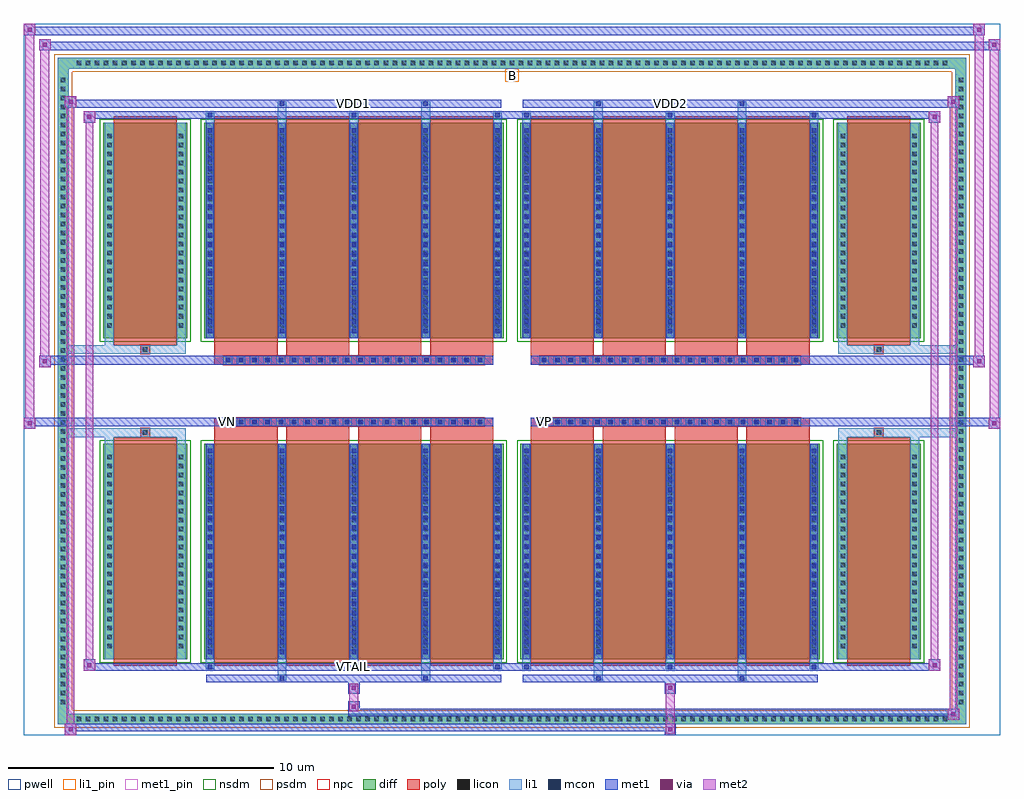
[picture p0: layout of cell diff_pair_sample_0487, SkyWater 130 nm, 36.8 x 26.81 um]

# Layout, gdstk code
import gdstk
lib = gdstk.Library(unit=1e-6, precision=5e-09)
def R(c, l, rs):  # rectangles x0, y0, x1, y1
    for r in rs: c.add(gdstk.rectangle(r[:2], r[2:], *l))
def A(c, l, x, y, w, h, nx, ny, dx, dy):  # array of equal rectangles
    R(c, l, [(x+i*dx, y+j*dy, x+i*dx+w, y+j*dy+h) for i in range(nx) for j in range(ny)])
def P(c, l, *ps):  # polygons
    for p in ps: c.add(gdstk.Polygon(p, *l))
pwell = (64, 44)
diff = (65, 20)
poly = (66, 20)
licon = (66, 44)
li1_pin = (67, 16)
li1 = (67, 20)
mcon = (67, 44)
met1_pin = (68, 16)
met1 = (68, 20)
via = (68, 44)
met2 = (69, 20)
nsdm = (93, 44)
psdm = (94, 20)
npc = (95, 20)

diff_pair_sample_0487 = lib.new_cell('diff_pair_sample_0487')
R(diff_pair_sample_0487, pwell, [(-18.4,-12.97,18.4,13.84), (-15.72,-11.16,-0.01,-0.8), (0.01,-11.16,15.72,-0.8), (-15.72,0.8,-0.01,11.16), (0.01,0.8,15.72,11.16)])
A(diff_pair_sample_0487, diff, -16.525, -12.57, 0.41, 0.41, 97, 2, 0.34, 24.73)
A(diff_pair_sample_0487, diff, -17.13, -11.935, 0.41, 0.41, 1, 70, 0, 0.34)
A(diff_pair_sample_0487, diff, 16.72, -11.935, 0.41, 0.41, 1, 70, 0, 0.34)
R(diff_pair_sample_0487, diff, [(-16.525,-12.57,16.525,-12.16), (-17.13,-11.935,-16.72,11.935), (16.72,-11.935,17.13,11.935), (-15.41,-10.115,-12.25,-1.985), (-11.61,-10.115,-0.32,-1.985), (0.32,-10.115,11.61,-1.985), (12.25,-10.115,15.41,-1.985), (-15.41,1.985,-12.25,10.115), (-11.61,1.985,-0.32,10.115), (0.32,1.985,11.61,10.115), (12.25,1.985,15.41,10.115), (-16.525,12.16,16.525,12.57)])
P(diff_pair_sample_0487, diff, [(17.13,12.57),(-17.13,12.57),(-17.13,-12.16),(-16.72,-12.16),(-16.72,12.16),(16.72,12.16),(16.72,-12.16),(-16.72,-12.16),(-17.13,-12.16),(-17.13,-12.57),(17.13,-12.57)])
A(diff_pair_sample_0487, poly, -11.22, -10.365, 2.38, 8.63, 4, 2, 2.71, 12.1)
A(diff_pair_sample_0487, poly, 0.71, -10.365, 2.38, 8.63, 4, 2, 2.71, 12.1)
A(diff_pair_sample_0487, poly, -11.22, -1.735, 2.38, 0.405, 4, 2, 2.71, 3.065)
A(diff_pair_sample_0487, poly, 0.71, -1.735, 2.38, 0.405, 4, 2, 2.71, 3.065)
A(diff_pair_sample_0487, poly, -10.88, -1.33, 0.33, 0.33, 20, 2, 0.5, 2.33)
A(diff_pair_sample_0487, poly, 1.05, -1.33, 0.33, 0.33, 20, 2, 0.5, 2.33)
R(diff_pair_sample_0487, poly, [(-15.02,-10.365,-12.64,-1.735), (12.64,-10.365,15.02,-1.735), (-13.995,-1.735,-13.665,-1.405), (-13.995,-1.735,-13.665,-1.405), (13.665,-1.735,13.995,-1.405), (13.665,-1.735,13.995,-1.405), (-11.22,-1.33,-0.71,-1), (0.71,-1.33,11.22,-1), (-11.22,1,-0.71,1.33), (0.71,1,11.22,1.33), (-13.995,1.405,-13.665,1.735), (-13.995,1.405,-13.665,1.735), (13.665,1.405,13.995,1.735), (13.665,1.405,13.995,1.735), (-15.02,1.735,-12.64,10.365), (12.64,1.735,15.02,10.365)])
A(diff_pair_sample_0487, licon, -16.405, -12.45, 0.17, 0.17, 97, 2, 0.34, 24.73)
A(diff_pair_sample_0487, licon, -17.01, -11.815, 0.17, 0.17, 1, 70, 0, 0.34)
A(diff_pair_sample_0487, licon, 16.84, -11.815, 0.17, 0.17, 1, 70, 0, 0.34)
A(diff_pair_sample_0487, licon, -15.27, -9.705, 0.17, 0.17, 1, 22, 0, 0.34)
A(diff_pair_sample_0487, licon, -12.56, -9.705, 0.17, 0.17, 1, 22, 0, 0.34)
A(diff_pair_sample_0487, licon, -11.47, -9.705, 0.17, 0.17, 5, 22, 2.71, 0.34)
A(diff_pair_sample_0487, licon, 0.46, -9.705, 0.17, 0.17, 5, 22, 2.71, 0.34)
A(diff_pair_sample_0487, licon, 12.39, -9.705, 0.17, 0.17, 1, 22, 0, 0.34)
A(diff_pair_sample_0487, licon, 15.1, -9.705, 0.17, 0.17, 1, 22, 0, 0.34)
A(diff_pair_sample_0487, licon, -10.8, -1.25, 0.17, 0.17, 20, 2, 0.5, 2.33)
A(diff_pair_sample_0487, licon, 1.13, -1.25, 0.17, 0.17, 20, 2, 0.5, 2.33)
A(diff_pair_sample_0487, licon, -15.27, 2.395, 0.17, 0.17, 1, 22, 0, 0.34)
A(diff_pair_sample_0487, licon, -12.56, 2.395, 0.17, 0.17, 1, 22, 0, 0.34)
A(diff_pair_sample_0487, licon, -11.47, 2.395, 0.17, 0.17, 5, 22, 2.71, 0.34)
A(diff_pair_sample_0487, licon, 0.46, 2.395, 0.17, 0.17, 5, 22, 2.71, 0.34)
A(diff_pair_sample_0487, licon, 12.39, 2.395, 0.17, 0.17, 1, 22, 0, 0.34)
A(diff_pair_sample_0487, licon, 15.1, 2.395, 0.17, 0.17, 1, 22, 0, 0.34)
R(diff_pair_sample_0487, licon, [(-13.915,-1.655,-13.745,-1.485), (13.745,-1.655,13.915,-1.485), (-13.915,1.485,-13.745,1.655), (13.745,1.485,13.915,1.655)])
R(diff_pair_sample_0487, li1_pin, [(-0.25,11.66,0.25,12.16)])
A(diff_pair_sample_0487, li1, -16.485, -12.53, 0.33, 0.33, 97, 2, 0.34, 24.73)
A(diff_pair_sample_0487, li1, -17.09, -11.895, 0.33, 0.33, 1, 70, 0, 0.34)
A(diff_pair_sample_0487, li1, 16.76, -11.895, 0.33, 0.33, 1, 70, 0, 0.34)
A(diff_pair_sample_0487, li1, -11.55, -10.49, 0.33, 0.375, 3, 2, 5.42, 20.605)
A(diff_pair_sample_0487, li1, -11.47, -10.49, 0.17, 0.17, 3, 2, 5.42, 20.81)
A(diff_pair_sample_0487, li1, 0.38, -10.49, 0.33, 0.375, 3, 2, 5.42, 20.605)
A(diff_pair_sample_0487, li1, 0.46, -10.49, 0.17, 0.17, 3, 2, 5.42, 20.81)
A(diff_pair_sample_0487, li1, -11.55, -10.115, 0.33, 8.13, 5, 2, 2.71, 12.1)
A(diff_pair_sample_0487, li1, 0.38, -10.115, 0.33, 8.13, 5, 2, 2.71, 12.1)
A(diff_pair_sample_0487, li1, -11.47, -9.915, 0.17, 0.17, 5, 22, 2.71, 0.36)
A(diff_pair_sample_0487, li1, -11.47, -9.915, 0.17, 7.73, 5, 2, 2.71, 12.1)
A(diff_pair_sample_0487, li1, 0.46, -9.915, 0.17, 0.17, 5, 22, 2.71, 0.36)
A(diff_pair_sample_0487, li1, 0.46, -9.915, 0.17, 7.73, 5, 2, 2.71, 12.1)
A(diff_pair_sample_0487, li1, -15.35, -9.785, 0.33, 0.33, 1, 22, 0, 0.34)
A(diff_pair_sample_0487, li1, -12.64, -9.785, 0.33, 0.33, 1, 22, 0, 0.34)
A(diff_pair_sample_0487, li1, -11.55, -9.785, 0.33, 0.33, 5, 22, 2.71, 0.34)
A(diff_pair_sample_0487, li1, 0.38, -9.785, 0.33, 0.33, 5, 22, 2.71, 0.34)
A(diff_pair_sample_0487, li1, 12.31, -9.785, 0.33, 0.33, 1, 22, 0, 0.34)
A(diff_pair_sample_0487, li1, 15.02, -9.785, 0.33, 0.33, 1, 22, 0, 0.34)
A(diff_pair_sample_0487, li1, -10.88, -1.33, 0.33, 0.33, 20, 2, 0.5, 2.33)
A(diff_pair_sample_0487, li1, 1.05, -1.33, 0.33, 0.33, 20, 2, 0.5, 2.33)
A(diff_pair_sample_0487, li1, -11.47, 2.185, 0.17, 0.17, 5, 22, 2.71, 0.36)
A(diff_pair_sample_0487, li1, 0.46, 2.185, 0.17, 0.17, 5, 22, 2.71, 0.36)
A(diff_pair_sample_0487, li1, -15.35, 2.315, 0.33, 0.33, 1, 22, 0, 0.34)
A(diff_pair_sample_0487, li1, -12.64, 2.315, 0.33, 0.33, 1, 22, 0, 0.34)
A(diff_pair_sample_0487, li1, -11.55, 2.315, 0.33, 0.33, 5, 22, 2.71, 0.34)
A(diff_pair_sample_0487, li1, 0.38, 2.315, 0.33, 0.33, 5, 22, 2.71, 0.34)
A(diff_pair_sample_0487, li1, 12.31, 2.315, 0.33, 0.33, 1, 22, 0, 0.34)
A(diff_pair_sample_0487, li1, 15.02, 2.315, 0.33, 0.33, 1, 22, 0, 0.34)
R(diff_pair_sample_0487, li1, [(-17.13,-12.57,-16.72,-12.16), (-17.13,-12.57,-16.72,-12.16), (-16.72,-12.57,16.72,-12.16), (16.72,-12.57,17.13,-12.16), (16.72,-12.57,17.13,-12.16), (-17.13,-12.16,-16.72,12.16), (16.72,-12.16,17.13,12.16), (-8.84,-10.92,-8.51,-10.115), (-8.76,-10.92,-8.59,-10.75), (-3.42,-10.92,-3.09,-10.115), (-3.34,-10.92,-3.17,-10.75), (3.09,-10.92,3.42,-10.115), (3.17,-10.92,3.34,-10.75), (8.51,-10.92,8.84,-10.115), (8.59,-10.92,8.76,-10.75), (-15.35,-10.115,-15.02,-1.985), (-12.64,-10.115,-12.31,-1.985), (12.31,-10.115,12.64,-1.985), (15.02,-10.115,15.35,-1.985), (-15.35,-1.985,-15.02,-1.405), (-12.64,-1.985,-12.31,-1.405), (12.31,-1.985,12.64,-1.405), (15.02,-1.985,15.35,-1.405), (-17.13,-1.735,-13.995,-1.405), (-15.35,-1.735,-13.995,-1.405), (-13.995,-1.735,-13.665,-1.405), (-13.665,-1.735,-12.31,-1.405), (12.31,-1.735,13.665,-1.405), (13.665,-1.735,13.995,-1.405), (13.665,-1.735,17.13,-1.405), (13.995,-1.735,15.35,-1.405), (-17.13,1.405,-13.995,1.735), (-15.35,1.405,-13.995,1.735), (-15.35,1.405,-15.02,1.985), (-13.995,1.405,-13.665,1.735), (-13.665,1.405,-12.31,1.735), (-12.64,1.405,-12.31,1.985), (12.31,1.405,13.665,1.735), (12.31,1.405,12.64,1.985), (13.665,1.405,13.995,1.735), (13.665,1.405,17.13,1.735), (13.995,1.405,15.35,1.735), (15.02,1.405,15.35,1.985), (-15.35,1.985,-15.02,10.115), (-12.64,1.985,-12.31,10.115), (12.31,1.985,12.64,10.115), (15.02,1.985,15.35,10.115), (-8.84,10.115,-8.51,10.92), (-3.42,10.115,-3.09,10.92), (3.09,10.115,3.42,10.92), (8.51,10.115,8.84,10.92), (-8.76,10.75,-8.59,10.92), (-3.34,10.75,-3.17,10.92), (3.17,10.75,3.34,10.92), (8.59,10.75,8.76,10.92), (-17.13,12.16,-16.72,12.57), (-17.13,12.16,-16.72,12.57), (-16.72,12.16,16.72,12.57), (16.72,12.16,17.13,12.57), (16.72,12.16,17.13,12.57)])
A(diff_pair_sample_0487, mcon, -11.47, -10.49, 0.17, 0.17, 3, 2, 5.42, 20.81)
A(diff_pair_sample_0487, mcon, 0.46, -10.49, 0.17, 0.17, 3, 2, 5.42, 20.81)
A(diff_pair_sample_0487, mcon, -11.47, -9.915, 0.17, 0.17, 5, 22, 2.71, 0.36)
A(diff_pair_sample_0487, mcon, 0.46, -9.915, 0.17, 0.17, 5, 22, 2.71, 0.36)
A(diff_pair_sample_0487, mcon, -10.8, -1.25, 0.17, 0.17, 20, 2, 0.5, 2.33)
A(diff_pair_sample_0487, mcon, 1.13, -1.25, 0.17, 0.17, 20, 2, 0.5, 2.33)
A(diff_pair_sample_0487, mcon, -11.47, 2.185, 0.17, 0.17, 5, 22, 2.71, 0.36)
A(diff_pair_sample_0487, mcon, 0.46, 2.185, 0.17, 0.17, 5, 22, 2.71, 0.36)
R(diff_pair_sample_0487, mcon, [(-8.76,-10.92,-8.59,-10.75), (-3.34,-10.92,-3.17,-10.75), (3.17,-10.92,3.34,-10.75), (8.59,-10.92,8.76,-10.75), (-8.76,10.75,-8.59,10.92), (-3.34,10.75,-3.17,10.92), (3.17,10.75,3.34,10.92), (8.59,10.75,8.76,10.92)])
R(diff_pair_sample_0487, met1_pin, [(-6.1,-10.53,-5.83,-10.26), (-10.85,-1.29,-10.58,-1.02), (1.08,-1.29,1.35,-1.02), (-6.1,10.71,-5.83,10.98), (5.83,10.71,6.1,10.98)])
A(diff_pair_sample_0487, met1, -11.53, -10.55, 0.29, 0.29, 3, 2, 5.42, 20.81)
A(diff_pair_sample_0487, met1, 0.4, -10.55, 0.29, 0.29, 3, 2, 5.42, 20.81)
A(diff_pair_sample_0487, met1, -11.53, -10.115, 0.29, 8.13, 5, 2, 2.71, 12.1)
A(diff_pair_sample_0487, met1, 0.4, -10.115, 0.29, 8.13, 5, 2, 2.71, 12.1)
A(diff_pair_sample_0487, met1, -11.53, -9.975, 0.29, 0.29, 5, 22, 2.71, 0.36)
A(diff_pair_sample_0487, met1, 0.4, -9.975, 0.29, 0.29, 5, 22, 2.71, 0.36)
A(diff_pair_sample_0487, met1, -10.86, -1.31, 0.29, 0.29, 20, 2, 0.5, 2.33)
A(diff_pair_sample_0487, met1, 1.07, -1.31, 0.29, 0.29, 20, 2, 0.5, 2.33)
A(diff_pair_sample_0487, met1, -11.53, 2.125, 0.29, 0.29, 5, 22, 2.71, 0.36)
A(diff_pair_sample_0487, met1, 0.4, 2.125, 0.29, 0.29, 5, 22, 2.71, 0.36)
R(diff_pair_sample_0487, met1, [(-16.86,-12.97,-16.43,-12.54), (5.75,-12.97,6.18,-12.54), (-16.86,-12.83,6.18,-12.54), (16.43,-12.4,16.86,-11.97), (-6.18,-12.26,16.86,-11.97), (-6.18,-12.12,-5.75,-11.69), (-6.18,-11.41,-5.75,-10.98), (5.75,-11.41,6.18,-10.98), (-11.53,-10.98,-0.4,-10.69), (-8.82,-10.98,-8.53,-10.69), (-3.4,-10.98,-3.11,-10.69), (0.4,-10.98,11.53,-10.69), (3.11,-10.98,3.4,-10.69), (8.53,-10.98,8.82,-10.69), (-16.15,-10.55,-15.72,-10.12), (-16.15,-10.55,-11.53,-10.26), (-11.53,-10.55,-0.4,-10.26), (-0.4,-10.55,0.4,-10.26), (0.4,-10.55,11.53,-10.26), (11.53,-10.55,16.15,-10.26), (15.72,-10.55,16.15,-10.12), (-18.4,-1.43,-17.97,-1), (17.97,-1.43,18.4,-1), (-18.4,-1.33,-0.71,-1), (-11.22,-1.33,-0.71,-1), (0.71,-1.33,11.22,-1), (0.71,-1.33,18.4,-1), (-17.83,0.9,-17.4,1.33), (17.4,0.9,17.83,1.33), (-17.83,1,-11.22,1.33), (-11.22,1,-0.71,1.33), (0.71,1,11.22,1.33), (11.22,1,17.83,1.33), (-16.15,10.12,-15.72,10.55), (15.72,10.12,16.15,10.55), (-16.15,10.26,-11.53,10.55), (-11.53,10.26,-0.4,10.55), (-0.4,10.26,0.4,10.55), (0.4,10.26,11.53,10.55), (11.53,10.26,16.15,10.55), (-16.86,10.69,-16.43,11.12), (-16.86,10.69,-11.53,10.98), (-11.53,10.69,-0.4,10.98), (-8.82,10.69,-8.53,10.98), (-3.4,10.69,-3.11,10.98), (0.4,10.69,11.53,10.98), (3.11,10.69,3.4,10.98), (8.53,10.69,8.82,10.98), (11.53,10.69,16.86,10.98), (16.43,10.69,16.86,11.12), (-17.83,12.84,-17.4,13.27), (-17.83,12.84,-15.72,13.17), (-15.72,12.84,15.72,13.17), (15.72,12.84,18.4,13.17), (17.97,12.84,18.4,13.27), (-18.4,13.41,-17.97,13.84), (-18.4,13.41,-15.72,13.74), (-15.72,13.41,15.72,13.74), (15.72,13.41,17.83,13.74), (17.4,13.41,17.83,13.84)])
R(diff_pair_sample_0487, via, [(-16.72,-12.83,-16.57,-12.68), (5.89,-12.83,6.04,-12.68), (16.57,-12.26,16.72,-12.11), (-6.04,-11.98,-5.89,-11.83), (-6.04,-11.27,-5.89,-11.12), (5.89,-11.27,6.04,-11.12), (-16.01,-10.41,-15.86,-10.26), (15.86,-10.41,16.01,-10.26), (-18.26,-1.29,-18.11,-1.14), (18.11,-1.29,18.26,-1.14), (-17.69,1.04,-17.54,1.19), (17.54,1.04,17.69,1.19), (-16.01,10.26,-15.86,10.41), (15.86,10.26,16.01,10.41), (-16.72,10.83,-16.57,10.98), (16.57,10.83,16.72,10.98), (-17.69,12.98,-17.54,13.13), (18.11,12.98,18.26,13.13), (-18.26,13.55,-18.11,13.7), (17.54,13.55,17.69,13.7)])
R(diff_pair_sample_0487, met2, [(-16.86,-12.97,-16.43,-12.54), (-16.79,-12.97,-16.5,11.12), (-16.5,-12.97,-16.43,-12.54), (-16.81,-12.92,-16.48,-12.59), (5.8,-12.92,6.13,-12.59), (5.8,-12.59,6.13,-11.36), (16.43,-12.4,16.86,-11.97), (16.5,-12.4,16.79,11.12), (16.79,-12.4,16.86,-11.97), (16.48,-12.35,16.81,-12.02), (-6.13,-12.07,-5.8,-11.74), (-6.13,-11.74,-5.8,-11.36), (-6.13,-11.36,-5.8,-11.03), (5.8,-11.36,6.13,-11.03), (-16.15,-10.55,-15.72,-10.12), (-16.08,-10.55,-15.79,10.55), (-15.79,-10.55,-15.72,-10.12), (15.72,-10.55,16.15,-10.12), (15.79,-10.55,16.08,10.55), (16.08,-10.55,16.15,-10.12), (-16.1,-10.5,-15.77,-10.17), (15.77,-10.5,16.1,-10.17), (-18.4,-1.43,-17.97,-1), (-18.35,-1.43,-18.02,13.84), (-18.02,-1.43,-17.97,-1), (17.97,-1.43,18.4,-1), (18.02,-1.43,18.35,13.27), (18.35,-1.43,18.4,-1), (-18.35,-1.38,-18.02,-1.05), (18.02,-1.38,18.35,-1.05), (-17.83,0.9,-17.4,1.33), (-17.78,0.9,-17.45,13.27), (-17.45,0.9,-17.4,1.33), (17.4,0.9,17.83,1.33), (17.45,0.9,17.78,13.84), (17.78,0.9,17.83,1.33), (-17.78,0.95,-17.45,1.28), (17.45,0.95,17.78,1.28), (-16.15,10.12,-15.72,10.55), (-15.79,10.12,-15.72,10.55), (15.72,10.12,16.15,10.55), (16.08,10.12,16.15,10.55), (-16.1,10.17,-15.77,10.5), (15.77,10.17,16.1,10.5), (-16.86,10.69,-16.43,11.12), (-16.5,10.69,-16.43,11.12), (16.43,10.69,16.86,11.12), (16.79,10.69,16.86,11.12), (-16.81,10.74,-16.48,11.07), (16.48,10.74,16.81,11.07), (-17.83,12.84,-17.4,13.27), (-17.45,12.84,-17.4,13.27), (17.97,12.84,18.4,13.27), (18.35,12.84,18.4,13.27), (-17.78,12.89,-17.45,13.22), (18.02,12.89,18.35,13.22), (-18.4,13.41,-17.97,13.84), (-18.02,13.41,-17.97,13.84), (17.4,13.41,17.83,13.84), (17.78,13.41,17.83,13.84), (-18.35,13.46,-18.02,13.79), (17.45,13.46,17.78,13.79)])
R(diff_pair_sample_0487, nsdm, [(-15.54,-10.245,-12.12,-1.855), (-11.74,-10.245,-0.19,-1.855), (0.19,-10.245,11.74,-1.855), (12.12,-10.245,15.54,-1.855), (-15.54,1.855,-12.12,10.245), (-11.74,1.855,-0.19,10.245), (0.19,1.855,11.74,10.245), (12.12,1.855,15.54,10.245)])
P(diff_pair_sample_0487, psdm, [(17.26,12.7),(-17.26,12.7),(-17.26,-12.03),(-16.59,-12.03),(-16.59,12.03),(16.59,12.03),(16.59,-12.03),(-16.59,-12.03),(-17.26,-12.03),(-17.26,-12.7),(17.26,-12.7)])
A(diff_pair_sample_0487, npc, -10.9, -1.35, 0.37, 0.37, 20, 2, 0.5, 2.33)
A(diff_pair_sample_0487, npc, 1.03, -1.35, 0.37, 0.37, 20, 2, 0.5, 2.33)
R(diff_pair_sample_0487, npc, [(-14.015,-1.755,-13.645,-1.385), (13.645,-1.755,14.015,-1.385), (-10.9,-1.35,-10.03,-0.98), (-10.9,-1.35,-10.03,-0.98), (-10.4,-1.35,-9.53,-0.98), (-10.4,-1.35,-9.53,-0.98), (-9.9,-1.35,-9.03,-0.98), (-9.9,-1.35,-9.03,-0.98), (-9.4,-1.35,-8.53,-0.98), (-9.4,-1.35,-8.53,-0.98), (-8.9,-1.35,-8.03,-0.98), (-8.9,-1.35,-8.03,-0.98), (-8.4,-1.35,-7.53,-0.98), (-8.4,-1.35,-7.53,-0.98), (-7.9,-1.35,-7.03,-0.98), (-7.9,-1.35,-7.03,-0.98), (-7.4,-1.35,-6.53,-0.98), (-7.4,-1.35,-6.53,-0.98), (-6.9,-1.35,-6.03,-0.98), (-6.9,-1.35,-6.03,-0.98), (-6.4,-1.35,-5.53,-0.98), (-6.4,-1.35,-5.53,-0.98), (-5.9,-1.35,-5.03,-0.98), (-5.9,-1.35,-5.03,-0.98), (-5.4,-1.35,-4.53,-0.98), (-5.4,-1.35,-4.53,-0.98), (-4.9,-1.35,-4.03,-0.98), (-4.9,-1.35,-4.03,-0.98), (-4.4,-1.35,-3.53,-0.98), (-4.4,-1.35,-3.53,-0.98), (-3.9,-1.35,-3.03,-0.98), (-3.9,-1.35,-3.03,-0.98), (-3.4,-1.35,-2.53,-0.98), (-3.4,-1.35,-2.53,-0.98), (-2.9,-1.35,-2.03,-0.98), (-2.9,-1.35,-2.03,-0.98), (-2.4,-1.35,-1.53,-0.98), (-2.4,-1.35,-1.53,-0.98), (-1.9,-1.35,-1.03,-0.98), (-1.9,-1.35,-1.03,-0.98), (1.03,-1.35,1.9,-0.98), (1.03,-1.35,1.9,-0.98), (1.53,-1.35,2.4,-0.98), (1.53,-1.35,2.4,-0.98), (2.03,-1.35,2.9,-0.98), (2.03,-1.35,2.9,-0.98), (2.53,-1.35,3.4,-0.98), (2.53,-1.35,3.4,-0.98), (3.03,-1.35,3.9,-0.98), (3.03,-1.35,3.9,-0.98), (3.53,-1.35,4.4,-0.98), (3.53,-1.35,4.4,-0.98), (4.03,-1.35,4.9,-0.98), (4.03,-1.35,4.9,-0.98), (4.53,-1.35,5.4,-0.98), (4.53,-1.35,5.4,-0.98), (5.03,-1.35,5.9,-0.98), (5.03,-1.35,5.9,-0.98), (5.53,-1.35,6.4,-0.98), (5.53,-1.35,6.4,-0.98), (6.03,-1.35,6.9,-0.98), (6.03,-1.35,6.9,-0.98), (6.53,-1.35,7.4,-0.98), (6.53,-1.35,7.4,-0.98), (7.03,-1.35,7.9,-0.98), (7.03,-1.35,7.9,-0.98), (7.53,-1.35,8.4,-0.98), (7.53,-1.35,8.4,-0.98), (8.03,-1.35,8.9,-0.98), (8.03,-1.35,8.9,-0.98), (8.53,-1.35,9.4,-0.98), (8.53,-1.35,9.4,-0.98), (9.03,-1.35,9.9,-0.98), (9.03,-1.35,9.9,-0.98), (9.53,-1.35,10.4,-0.98), (9.53,-1.35,10.4,-0.98), (10.03,-1.35,10.9,-0.98), (10.03,-1.35,10.9,-0.98), (-10.9,0.98,-10.03,1.35), (-10.9,0.98,-10.03,1.35), (-10.4,0.98,-9.53,1.35), (-10.4,0.98,-9.53,1.35), (-9.9,0.98,-9.03,1.35), (-9.9,0.98,-9.03,1.35), (-9.4,0.98,-8.53,1.35), (-9.4,0.98,-8.53,1.35), (-8.9,0.98,-8.03,1.35), (-8.9,0.98,-8.03,1.35), (-8.4,0.98,-7.53,1.35), (-8.4,0.98,-7.53,1.35), (-7.9,0.98,-7.03,1.35), (-7.9,0.98,-7.03,1.35), (-7.4,0.98,-6.53,1.35), (-7.4,0.98,-6.53,1.35), (-6.9,0.98,-6.03,1.35), (-6.9,0.98,-6.03,1.35), (-6.4,0.98,-5.53,1.35), (-6.4,0.98,-5.53,1.35), (-5.9,0.98,-5.03,1.35), (-5.9,0.98,-5.03,1.35), (-5.4,0.98,-4.53,1.35), (-5.4,0.98,-4.53,1.35), (-4.9,0.98,-4.03,1.35), (-4.9,0.98,-4.03,1.35), (-4.4,0.98,-3.53,1.35), (-4.4,0.98,-3.53,1.35), (-3.9,0.98,-3.03,1.35), (-3.9,0.98,-3.03,1.35), (-3.4,0.98,-2.53,1.35), (-3.4,0.98,-2.53,1.35), (-2.9,0.98,-2.03,1.35), (-2.9,0.98,-2.03,1.35), (-2.4,0.98,-1.53,1.35), (-2.4,0.98,-1.53,1.35), (-1.9,0.98,-1.03,1.35), (-1.9,0.98,-1.03,1.35), (1.03,0.98,1.9,1.35), (1.03,0.98,1.9,1.35), (1.53,0.98,2.4,1.35), (1.53,0.98,2.4,1.35), (2.03,0.98,2.9,1.35), (2.03,0.98,2.9,1.35), (2.53,0.98,3.4,1.35), (2.53,0.98,3.4,1.35), (3.03,0.98,3.9,1.35), (3.03,0.98,3.9,1.35), (3.53,0.98,4.4,1.35), (3.53,0.98,4.4,1.35), (4.03,0.98,4.9,1.35), (4.03,0.98,4.9,1.35), (4.53,0.98,5.4,1.35), (4.53,0.98,5.4,1.35), (5.03,0.98,5.9,1.35), (5.03,0.98,5.9,1.35), (5.53,0.98,6.4,1.35), (5.53,0.98,6.4,1.35), (6.03,0.98,6.9,1.35), (6.03,0.98,6.9,1.35), (6.53,0.98,7.4,1.35), (6.53,0.98,7.4,1.35), (7.03,0.98,7.9,1.35), (7.03,0.98,7.9,1.35), (7.53,0.98,8.4,1.35), (7.53,0.98,8.4,1.35), (8.03,0.98,8.9,1.35), (8.03,0.98,8.9,1.35), (8.53,0.98,9.4,1.35), (8.53,0.98,9.4,1.35), (9.03,0.98,9.9,1.35), (9.03,0.98,9.9,1.35), (9.53,0.98,10.4,1.35), (9.53,0.98,10.4,1.35), (10.03,0.98,10.9,1.35), (10.03,0.98,10.9,1.35), (-14.015,1.385,-13.645,1.755), (13.645,1.385,14.015,1.755)])
diff_pair_sample_0487.add(gdstk.Label('VTAIL', (-5.965,-10.395), layer=68, texttype=5))
diff_pair_sample_0487.add(gdstk.Label('VN', (-10.715,-1.155), layer=68, texttype=5))
diff_pair_sample_0487.add(gdstk.Label('VP', (1.215,-1.155), layer=68, texttype=5))
diff_pair_sample_0487.add(gdstk.Label('B', (0,11.91), layer=67, texttype=5))
diff_pair_sample_0487.add(gdstk.Label('VDD2', (5.965,10.845), layer=68, texttype=5))
diff_pair_sample_0487.add(gdstk.Label('VDD1', (-5.965,10.845), layer=68, texttype=5))

lib.write_gds('diff_pair_sample_0487.gds')
